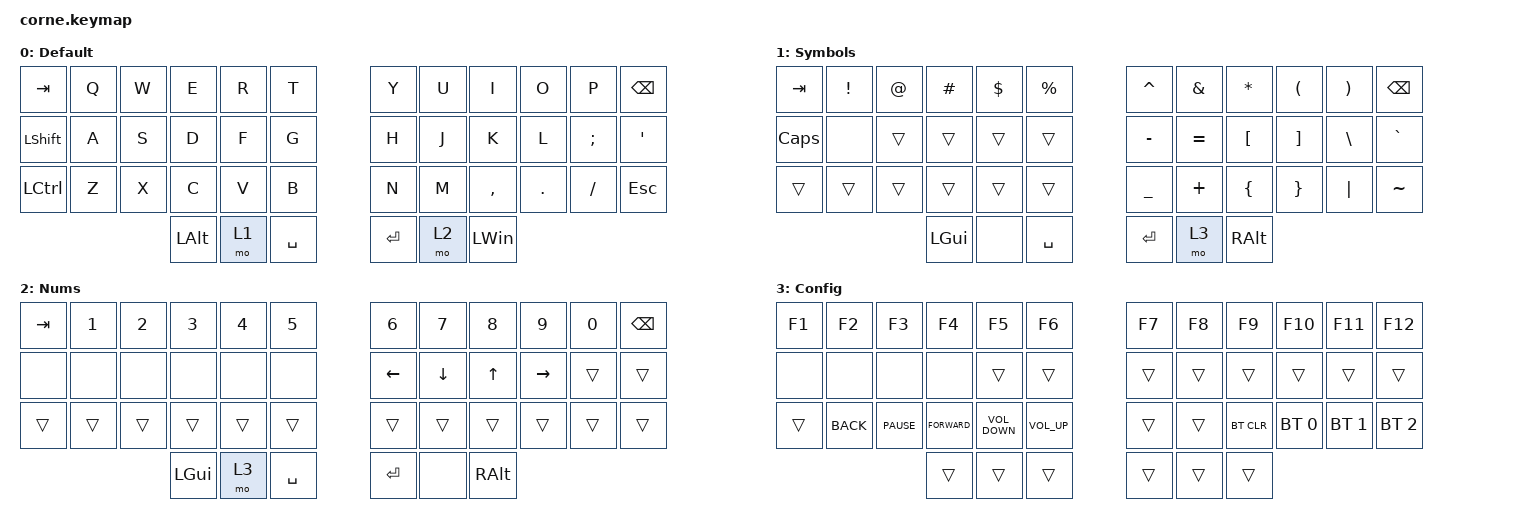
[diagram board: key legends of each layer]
/*
 * Copyright (c) 2020 The ZMK Contributors
 *
 * SPDX-License-Identifier: MIT
 */

#include <behaviors.dtsi>
#include <dt-bindings/zmk/bt.h>
#include <dt-bindings/zmk/keys.h>

/ {
    keymap {
        compatible = "zmk,keymap";

        Default {
            // -----------------------------------------------------------------------------------------
            // |  TAB |  Q  |  W  |  E  |  R  |  T  |   |  Y  |  U   |  I  |  O  |  P  | BKSP |
            // | CTRL |  A  |  S  |  D  |  F  |  G  |   |  H  |  J   |  K  |  L  |  ;  |  '   |
            // | SHFT |  Z  |  X  |  C  |  V  |  B  |   |  N  |  M   |  ,  |  .  |  /  | ESC  |
            //                    | GUI | LWR | SPC |   | ENT | RSE  | ALT |

            bindings = <
&kp TAB     &kp Q  &kp W  &kp E         &kp R  &kp T        &kp Y    &kp U  &kp I      &kp O    &kp P     &kp BSPC
&kp LSHIFT  &kp A  &kp S  &kp D         &kp F  &kp G        &kp H    &kp J  &kp K      &kp L    &kp SEMI  &kp SQT
&kp LCTRL   &kp Z  &kp X  &kp C         &kp V  &kp B        &kp N    &kp M  &kp COMMA  &kp DOT  &kp FSLH  &kp ESC
                          &kp LEFT_ALT  &mo 1  &kp SPACE    &kp RET  &mo 2  &kp LWIN
            >;
        };

        Symbols {
            // -----------------------------------------------------------------------------------------
            // |  TAB |  !  |  @  |  #  |  $  |  %  |   |  ^  |  &  |  *  |  (  |  )  | BKSP |
            // | CTRL |     |     |     |     |     |   |  -  |  =  |  [  |  ]  |  \  |  `   |
            // | SHFT |     |     |     |     |     |   |  _  |  +  |  {  |  }  | "|" |  ~   |
            //                    | GUI |     | SPC |   | ENT |     | ALT |

            bindings = <
&kp TAB   &kp EXCL  &kp AT  &kp HASH  &kp DLLR  &kp PRCNT    &kp CARET  &kp AMPS   &kp ASTRK  &kp LPAR  &kp RPAR  &kp BSPC
&kp CAPS  &none     &trans  &trans    &trans    &trans       &kp MINUS  &kp EQUAL  &kp LBKT   &kp RBKT  &kp BSLH  &kp GRAVE
&trans    &trans    &trans  &trans    &trans    &trans       &kp UNDER  &kp PLUS   &kp LBRC   &kp RBRC  &kp PIPE  &kp TILDE
                            &kp LGUI  &none     &kp SPACE    &kp RET    &mo 3      &kp RALT
            >;
        };

        Nums {
            // -----------------------------------------------------------------------------------------
            // |  TAB |  1  |  2  |  3  |  4  |  5  |   |  6  |  7  |  8  |  9  |  0  | BKSP |
            // | BTCLR| BT1 | BT2 | BT3 | BT4 | BT5 |   | LFT | DWN |  UP | RGT |     |      |
            // | SHFT |     |     |     |     |     |   |     |     |     |     |     |      |
            //                    | GUI |     | SPC |   | ENT |     | ALT |

            bindings = <
&kp TAB  &kp N1  &kp N2  &kp N3    &kp N4  &kp N5       &kp N6    &kp N7    &kp N8    &kp N9     &kp N0  &kp BSPC
&none    &none   &none   &none     &none   &none        &kp LEFT  &kp DOWN  &kp UP    &kp RIGHT  &trans  &trans
&trans   &trans  &trans  &trans    &trans  &trans       &trans    &trans    &trans    &trans     &trans  &trans
                         &kp LGUI  &mo 3   &kp SPACE    &kp RET   &none     &kp RALT
            >;
        };

        Config {
            bindings = <
&kp F1  &kp F2      &kp F3       &kp F4         &kp F5             &kp F6             &kp F7  &kp F8  &kp F9      &kp F10       &kp F11       &kp F12
&none   &none       &none        &none          &trans             &trans             &trans  &trans  &trans      &trans        &trans        &trans
&trans  &kp K_BACK  &kp C_PAUSE  &kp K_FORWARD  &kp C_VOLUME_DOWN  &kp C_VOLUME_UP    &trans  &trans  &bt BT_CLR  &bt BT_SEL 0  &bt BT_SEL 1  &bt BT_SEL 2
                                 &trans         &trans             &trans             &trans  &trans  &trans
            >;
        };
    };
};
